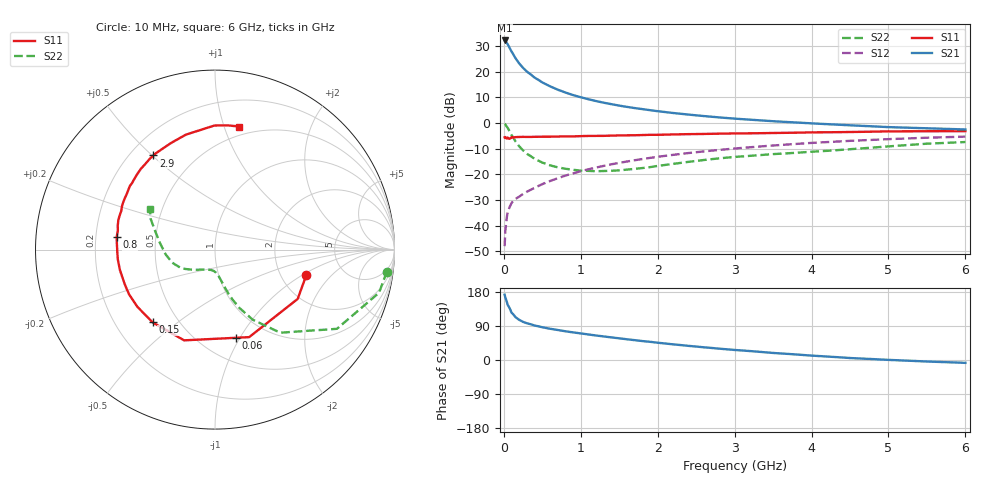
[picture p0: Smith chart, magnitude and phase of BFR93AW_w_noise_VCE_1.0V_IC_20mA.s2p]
! Infineon Technologies  Discrete & RF Semiconductors
! BFR93AW
! VCE =  1.0 V,  IC =  20 mA
! Common Emitter S-Parameters:  Jan 2017
# GHz  S  MA  R  50
!  f  S11  S21  S12  S22
! GHz  MAG  ANG  MAG  ANG  MAG  ANG  MAG  ANG
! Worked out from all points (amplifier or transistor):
!   77 points, 10 MHz to 6 GHz, reference 50 ohm
!   highest |S21| = 32.2 dB at 10 MHz (marker M1)
!   |S21| within 3 dB of that: start of sweep to 76.53 MHz
!   unconditionally stable (mu >= 1): 544.8 MHz to 2.513 GHz
!   at 130 MHz: K = 0.48, MSG = 28.3 dB, |S12| = -30.2 dB
!   at 2.2 GHz: K = 1.02, MAG = 7.3 dB, |S12| = -12.4 dB
!   at 6 GHz: K = 0.95, MSG = 1.4 dB, |S12| = -5.3 dB
!   lowest NFmin = 1.52 dB at 450 MHz
!   S11 on the Smith chart (normalised r, x): 10 MHz: 2.76, -1.08; 60 MHz: 0.73, -0.96; 150 MHz: 0.36, -0.41; 800 MHz: 0.29, +0.06; 2.9 GHz: 0.29, +0.50; 6 GHz: 0.42, +1.13
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0.01  0.5281 -15.5  40.88 172.3  0.004 81.6  0.9651 -7.3
0.02  0.5365 -30.8  40.52 164.8  0.0081 78.9  0.9452 -14.7
0.05  0.5235 -68.7  34.48 145.4  0.0185 64.8  0.8101 -33.0
0.06  0.5052 -76.5  32.3 142.3  0.0203 62.7  0.7606 -35.9
0.1  0.534 -108.8  24.92 124.8  0.0277 57.1  0.5894 -51.8
0.15  0.5341 -130.6  18.56 113.3  0.0333 52.0  0.4438 -61.7
0.2  0.5373 -143.7  14.58 105.9  0.0369 53.1  0.3534 -67.2
0.25  0.5398 -152.5  11.95 100.6  0.0417 54.7  0.2947 -70.7
0.3  0.5387 -158.9  10.09 96.9  0.046 55.5  0.2526 -73.3
0.4  0.5418 -167.9  7.717 90.9  0.0546 59.2  0.2013 -76.6
0.5  0.5443 -174.4  6.217 86.4  0.0647 61.5  0.1704 -79.4
0.6  0.5448 -179.4  5.226 82.5  0.0744 63.1  0.1506 -82.0
0.7  0.5476 176.6  4.498 79.2  0.0843 64.3  0.1377 -84.3
0.8  0.5525 172.7  3.955 75.8  0.0949 65.2  0.1291 -87.3
1.1  0.5632 163.0  2.924 67.4  0.1262 65.1  0.1173 -97.1
1.5  0.5754 152.7  2.195 57.2  0.1681 63.2  0.1201 -112.6
2.1  0.597 138.9  1.642 43.5  0.2308 58.5  0.1534 -133.1
2.9  0.6266 123.2  1.258 28.2  0.3103 50.5  0.2126 -151.1
3.1  0.6313 119.5  1.196 25.1  0.3292 48.3  0.2248 -155.3
4.1  0.662 102.7  0.973 10.4  0.4194 37.3  0.2825 -177.4
5.1  0.6916 89.1  0.828 -0.5  0.4936 26.0  0.3608 160.4
6  0.6988 78.8  0.753 -7.6  0.5463 16.2  0.4282 147.8
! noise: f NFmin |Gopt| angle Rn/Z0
0.45  1.52  0.14  161  0.15
0.9  1.8  0.23  175  0.15
1.9  2.8  0.48  -138  0.23
2.4  3.43  0.54  -126  0.45
